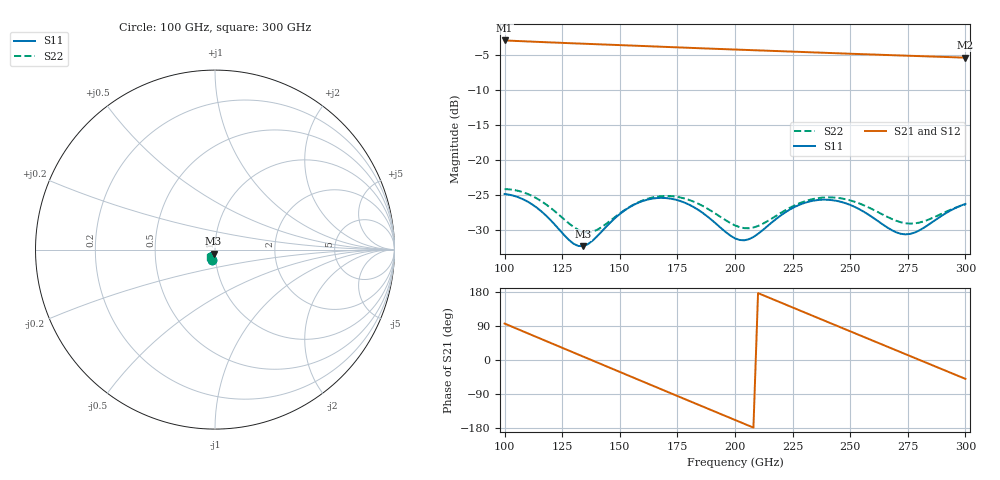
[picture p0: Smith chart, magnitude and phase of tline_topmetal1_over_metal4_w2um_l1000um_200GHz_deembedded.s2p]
! Created with skrf 2.2.0 (http://scikit-rf.org).
# GHz S DB R 50.0
! Port[1] = P1
! Port[2] = P2
!freq dBS11 angS11 dBS21 angS21 dBS12 angS12 dBS22 angS22
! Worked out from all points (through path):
!   101 points, 100 GHz to 300 GHz, reference 50 ohm
!   highest |S21| = -2.85 dB at 100 GHz (marker M1); lowest = -5.3 dB at 300 GHz (marker M2)
!   group delay of S21, straight-line fit = 7.02 ps
!   lowest |S11| = -32.3 dB at 134 GHz (marker M3), VSWR 1.05, Z = 49.2 - j2.25 ohm
!   |S11| at or under -10 dB: start of sweep to end of sweep
!   |S22| runs from -30.3 to -24.1 dB; largest |S21 - S12| = 1.2e-13
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100  -24.84 -105.0  -2.85 96.1  -2.85 96.1  -24.15 -104.1
108  -25.59 -118.9  -2.97 75.6  -2.97 75.6  -24.59 -117.6
116  -27.34 -129.4  -3.08 55.2  -3.08 55.2  -25.89 -128.2
126  -30.78 -129.1  -3.21 29.7  -3.21 29.7  -28.51 -132.1
134  -32.31 -109.1  -3.32 9.3  -3.32 9.3  -30.25 -121.4
142  -30.26 -92.7  -3.42 -11.1  -3.42 -11.1  -29.61 -106.4
150  -27.71 -93.4  -3.52 -31.5  -3.52 -31.5  -27.63 -102.5
160  -25.84 -105.0  -3.65 -56.9  -3.65 -56.9  -25.76 -109.9
168  -25.40 -116.8  -3.75 -77.2  -3.75 -77.2  -25.15 -119.6
182  -26.70 -135.4  -3.93 -112.7  -3.93 -112.7  -25.93 -135.9
192  -29.16 -139.8  -4.06 -138.0  -4.06 -138.0  -27.75 -140.8
200  -31.19 -130.1  -4.15 -158.2  -4.15 -158.2  -29.34 -135.6
206  -31.32 -116.2  -4.22 -173.4  -4.22 -173.4  -29.75 -126.4
216  -28.91 -104.3  -4.34 161.4  -4.34 161.4  -28.35 -115.0
234  -25.80 -118.0  -4.56 116.0  -4.56 116.0  -25.55 -123.1
242  -25.72 -127.8  -4.66 95.8  -4.66 95.8  -25.33 -131.2
250  -26.40 -136.4  -4.75 75.7  -4.75 75.7  -25.76 -138.7
258  -27.81 -141.4  -4.85 55.6  -4.85 55.6  -26.77 -143.5
268  -30.01 -136.4  -4.96 30.5  -4.96 30.5  -28.41 -141.7
276  -30.56 -122.3  -5.05 10.4  -5.05 10.4  -29.08 -133.2
284  -29.24 -111.6  -5.14 -9.6  -5.14 -9.6  -28.51 -124.6
300  -26.26 -115.3  -5.31 -49.8  -5.31 -49.8  -26.33 -124.7
